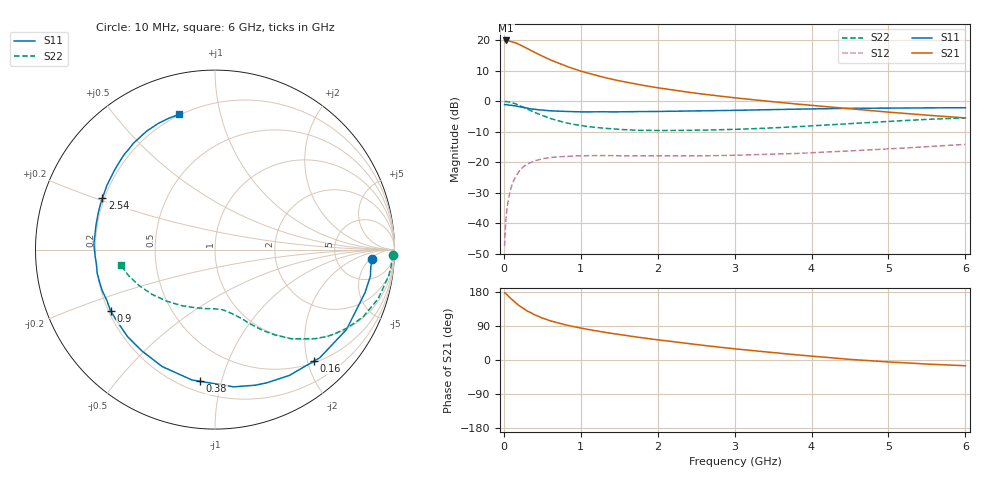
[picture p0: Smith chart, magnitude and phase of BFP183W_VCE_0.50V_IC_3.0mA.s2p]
! Infineon Technologies  Discrete & RF Semiconductors
! BFP183W
! VCE = 0.50V,  IC =  3.0 mA
! Common Emitter S-Parameters:  Jan 2016
# GHz  S  MA  R  50
!  f  S11  S21  S12  S22
! GHz  MAG  ANG  MAG  ANG  MAG  ANG  MAG  ANG
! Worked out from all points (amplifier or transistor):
!   210 points, 10 MHz to 6 GHz, reference 50 ohm
!   highest |S21| = 19.9 dB at 30 MHz (marker M1)
!   |S21| within 3 dB of that: start of sweep to 330.5 MHz
!   unconditionally stable (mu >= 1): 1.907 GHz to end of sweep
!   at 185 MHz: K = 0.12, MSG = 21.1 dB, |S12| = -23.5 dB
!   at 1.52 GHz: K = 0.83, MSG = 12.2 dB, |S12| = -17.9 dB
!   at 6 GHz: K = 1.27, MAG = 1.2 dB, |S12| = -14.2 dB
!   S11 on the Smith chart (normalised r, x): 10 MHz: 13, -6; 160 MHz: 0.53, -2.11; 380 MHz: 0.27, -0.86; 900 MHz: 0.21, -0.26; 2.54 GHz: 0.19, +0.21; 6 GHz: 0.20, +0.75
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0.01  0.8786 -3.3  9.789 177.4  0.0042 87.7  0.9905 -1.7
0.03  0.8786 -9.6  9.865 174.3  0.0128 85.1  0.9864 -5.2
0.05  0.8697 -15.9  9.776 170.2  0.0208 80.9  0.9786 -8.6
0.1  0.8573 -31.3  9.461 160.6  0.0402 72.5  0.9494 -16.8
0.16  0.8305 -48.5  8.915 149.9  0.06 63.1  0.8946 -25.7
0.2  0.8142 -59.4  8.469 143.3  0.0714 57.9  0.8533 -31.0
0.26  0.7882 -73.4  7.784 135.1  0.0851 50.6  0.7887 -37.9
0.3  0.7716 -82.3  7.319 129.7  0.0925 46.7  0.7463 -41.7
0.38  0.7384 -96.4  6.482 121.6  0.1026 39.9  0.6709 -47.8
0.4  0.7375 -100.1  6.296 119.2  0.1053 38.4  0.6534 -49.5
0.5  0.715 -114.3  5.451 110.6  0.114 32.6  0.581 -54.9
0.6  0.6963 -125.7  4.766 103.7  0.119 27.8  0.5223 -59.5
0.7  0.6873 -135.1  4.241 97.9  0.1222 24.6  0.479 -62.7
0.9  0.6749 -149.5  3.415 88.2  0.1262 19.6  0.4174 -68.2
1.02  0.6659 -155.8  3.052 83.5  0.1268 17.3  0.3947 -71.1
1.46  0.667 -174.6  2.208 68.4  0.1275 13.0  0.3475 -80.0
2.02  0.6772 168.0  1.64 52.7  0.1265 12.1  0.3299 -90.5
2.54  0.69 155.4  1.327 40.0  0.1267 13.0  0.3338 -101.1
3.1  0.7098 143.3  1.1 27.5  0.1306 15.1  0.348 -113.1
4.1  0.7489 126.0  0.83 8.5  0.1446 19.1  0.3997 -135.6
5.1  0.7715 113.2  0.645 -6.2  0.1674 20.9  0.4725 -156.1
6  0.7801 104.7  0.531 -15.2  0.1956 20.5  0.5328 -170.6
